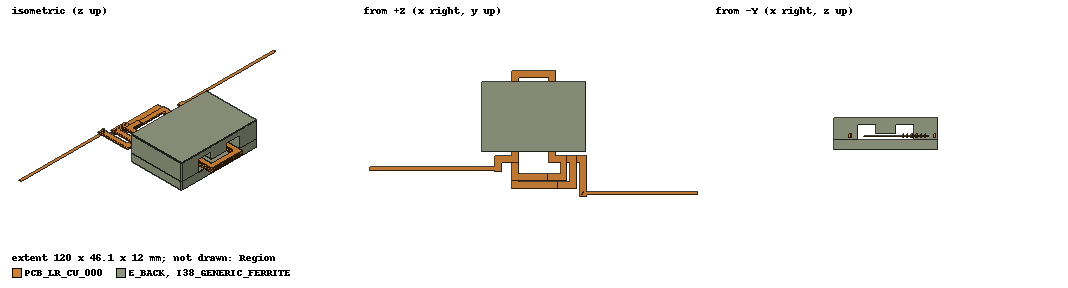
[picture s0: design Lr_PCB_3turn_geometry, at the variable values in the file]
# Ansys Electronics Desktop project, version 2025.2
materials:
  vacuum: permittivity=1
  ferrite: permittivity=12 permeability=1000 conductivity=0.01
  copper: permeability=0.999991 conductivity=58000000

design Lr_PCB_3turn_geometry (Maxwell 3D, Magnetostatic, model units mm)
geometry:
  I38_GENERIC_FERRITE [ferrite] = box(corner=(-19mm, -12.7mm, 0mm), size=(38mm, 25.4mm, 3.75mm))
  E_BACK [ferrite] = box(corner=(-19mm, -12.7mm, 9.4mm), size=(38mm, 25.4mm, 2.6mm))
  E_LEFT = box(corner=(-19mm, -12.7mm, 3.75mm), size=(8.83mm, 25.4mm, 5.65mm))
  E_RIGHT = box(corner=(10.17mm, -12.7mm, 3.75mm), size=(8.83mm, 25.4mm, 5.65mm))
  E_CENTER = box(corner=(-3.82mm, -12.7mm, 6.106mm), size=(7.64mm, 25.4mm, 3.294mm))
  E_BACK.unite(E_LEFT, E_RIGHT, E_CENTER)
  PCB_LR_CU_000 [copper] = box(corner=(-14.25mm, -20.25mm, 5.93mm), size=(2.5mm, 5.9mm, 0.07mm))
  PCB_LR_CU_001 = box(corner=(-14.25mm, -16.85mm, 5.93mm), size=(8.78mm, 2.5mm, 0.07mm))
  PCB_LR_CU_002 = box(corner=(-7.97mm, -16.85mm, 5.93mm), size=(2.5mm, 33.7mm, 0.07mm))
  PCB_LR_CU_003 = box(corner=(-7.97mm, 14.35mm, 5.93mm), size=(15.94mm, 2.5mm, 0.07mm))
  PCB_LR_CU_004 = box(corner=(5.47mm, -16.85mm, 5.93mm), size=(2.5mm, 33.7mm, 0.07mm))
  PCB_LR_CU_005 = box(corner=(5.47mm, -16.85mm, 5.93mm), size=(6.78mm, 2.5mm, 0.07mm))
  PCB_LR_CU_006 = box(corner=(9.75mm, -23.25mm, 5.93mm), size=(2.5mm, 8.9mm, 0.07mm))
  PCB_LR_CU_007 = box(corner=(-14.25mm, -20.25mm, 5.66mm), size=(2.5mm, 5.9mm, 0.07mm))
  PCB_LR_CU_008 = box(corner=(-14.25mm, -16.85mm, 5.66mm), size=(8.78mm, 2.5mm, 0.07mm))
  PCB_LR_CU_009 = box(corner=(-7.97mm, -16.85mm, 5.66mm), size=(2.5mm, 33.7mm, 0.07mm))
  PCB_LR_CU_010 = box(corner=(-7.97mm, 14.35mm, 5.66mm), size=(15.94mm, 2.5mm, 0.07mm))
  PCB_LR_CU_011 = box(corner=(5.47mm, -16.85mm, 5.66mm), size=(2.5mm, 33.7mm, 0.07mm))
  PCB_LR_CU_012 = box(corner=(5.47mm, -16.85mm, 5.66mm), size=(6.78mm, 2.5mm, 0.07mm))
  PCB_LR_CU_013 = box(corner=(9.75mm, -23.25mm, 5.66mm), size=(2.5mm, 8.9mm, 0.07mm))
  PCB_LR_CU_014 = box(corner=(-7.97mm, -23.25mm, 5.35mm), size=(20.22mm, 2.5mm, 0.07mm))
  PCB_LR_CU_015 = box(corner=(-7.97mm, -23.25mm, 5.35mm), size=(2.5mm, 8.9mm, 0.07mm))
  PCB_LR_CU_016 = box(corner=(-7.97mm, -16.85mm, 5.35mm), size=(2.5mm, 33.7mm, 0.07mm))
  PCB_LR_CU_017 = box(corner=(-7.97mm, 14.35mm, 5.35mm), size=(15.94mm, 2.5mm, 0.07mm))
  PCB_LR_CU_018 = box(corner=(5.47mm, -16.85mm, 5.35mm), size=(2.5mm, 33.7mm, 0.07mm))
  PCB_LR_CU_019 = box(corner=(5.47mm, -16.85mm, 5.35mm), size=(10.28mm, 2.5mm, 0.07mm))
  PCB_LR_CU_020 = box(corner=(13.25mm, -26.25mm, 5.35mm), size=(2.5mm, 11.9mm, 0.07mm))
  PCB_LR_CU_021 = box(corner=(-7.97mm, -23.25mm, 5.04mm), size=(20.22mm, 2.5mm, 0.07mm))
  PCB_LR_CU_022 = box(corner=(-7.97mm, -23.25mm, 5.04mm), size=(2.5mm, 8.9mm, 0.07mm))
  PCB_LR_CU_023 = box(corner=(-7.97mm, -16.85mm, 5.04mm), size=(2.5mm, 33.7mm, 0.07mm))
  PCB_LR_CU_024 = box(corner=(-7.97mm, 14.35mm, 5.04mm), size=(15.94mm, 2.5mm, 0.07mm))
  PCB_LR_CU_025 = box(corner=(5.47mm, -16.85mm, 5.04mm), size=(2.5mm, 33.7mm, 0.07mm))
  PCB_LR_CU_026 = box(corner=(5.47mm, -16.85mm, 5.04mm), size=(10.28mm, 2.5mm, 0.07mm))
  PCB_LR_CU_027 = box(corner=(13.25mm, -26.25mm, 5.04mm), size=(2.5mm, 11.9mm, 0.07mm))
  PCB_LR_CU_028 = box(corner=(-7.97mm, -26.25mm, 4.72mm), size=(23.72mm, 2.5mm, 0.07mm))
  PCB_LR_CU_029 = box(corner=(-7.97mm, -26.25mm, 4.72mm), size=(2.5mm, 11.9mm, 0.07mm))
  PCB_LR_CU_030 = box(corner=(-7.97mm, -16.85mm, 4.72mm), size=(2.5mm, 33.7mm, 0.07mm))
  PCB_LR_CU_031 = box(corner=(-7.97mm, 14.35mm, 4.72mm), size=(15.94mm, 2.5mm, 0.07mm))
  PCB_LR_CU_032 = box(corner=(5.47mm, -16.85mm, 4.72mm), size=(2.5mm, 33.7mm, 0.07mm))
  PCB_LR_CU_033 = box(corner=(5.47mm, -16.85mm, 4.72mm), size=(13.78mm, 2.5mm, 0.07mm))
  PCB_LR_CU_034 = box(corner=(16.75mm, -29.25mm, 4.72mm), size=(2.5mm, 14.9mm, 0.07mm))
  PCB_LR_CU_035 = box(corner=(-7.97mm, -26.25mm, 4.4mm), size=(23.72mm, 2.5mm, 0.07mm))
  PCB_LR_CU_036 = box(corner=(-7.97mm, -26.25mm, 4.4mm), size=(2.5mm, 11.9mm, 0.07mm))
  PCB_LR_CU_037 = box(corner=(-7.97mm, -16.85mm, 4.4mm), size=(2.5mm, 33.7mm, 0.07mm))
  PCB_LR_CU_038 = box(corner=(-7.97mm, 14.35mm, 4.4mm), size=(15.94mm, 2.5mm, 0.07mm))
  PCB_LR_CU_039 = box(corner=(5.47mm, -16.85mm, 4.4mm), size=(2.5mm, 33.7mm, 0.07mm))
  PCB_LR_CU_040 = box(corner=(5.47mm, -16.85mm, 4.4mm), size=(13.78mm, 2.5mm, 0.07mm))
  PCB_LR_CU_041 = box(corner=(16.75mm, -29.25mm, 4.4mm), size=(2.5mm, 14.9mm, 0.07mm))
  PCB_LR_CU_042 = box(corner=(5.25mm, -23.25mm, 5.93mm), size=(7mm, 2.5mm, 0.07mm))
  PCB_LR_CU_043 = box(corner=(5.25mm, -23.25mm, 5.66mm), size=(7mm, 2.5mm, 0.07mm))
  PCB_LR_CU_044 = box(corner=(8.75mm, -26.25mm, 5.35mm), size=(7mm, 2.5mm, 0.07mm))
  PCB_LR_CU_045 = box(corner=(8.75mm, -26.25mm, 5.04mm), size=(7mm, 2.5mm, 0.07mm))
  PCB_VIA_BARREL_00 = cylinder(axis=Z, base_centre=(11mm, -22mm, 4.4mm), radius=0.2mm, height=1.6mm)
  PCB_VIA_BORE_00 = cylinder(axis=Z, base_centre=(11mm, -22mm, 4.39mm), radius=0.175mm, height=1.62mm)
  PCB_VIA_BARREL_00.subtract(PCB_VIA_BORE_00)
  PCB_VIA_BARREL_01 = cylinder(axis=Z, base_centre=(14.5mm, -25mm, 4.4mm), radius=0.2mm, height=1.6mm)
  PCB_VIA_BORE_01 = cylinder(axis=Z, base_centre=(14.5mm, -25mm, 4.39mm), radius=0.175mm, height=1.62mm)
  PCB_VIA_BARREL_01.subtract(PCB_VIA_BORE_01)
  PCB_VIA_BARREL_02 = cylinder(axis=Z, base_centre=(9.5mm, -22mm, 4.4mm), radius=0.2mm, height=1.6mm)
  PCB_VIA_BORE_02 = cylinder(axis=Z, base_centre=(9.5mm, -22mm, 4.39mm), radius=0.175mm, height=1.62mm)
  PCB_VIA_BARREL_02.subtract(PCB_VIA_BORE_02)
  PCB_VIA_BARREL_03 = cylinder(axis=Z, base_centre=(8mm, -22mm, 4.4mm), radius=0.2mm, height=1.6mm)
  PCB_VIA_BORE_03 = cylinder(axis=Z, base_centre=(8mm, -22mm, 4.39mm), radius=0.175mm, height=1.62mm)
  PCB_VIA_BARREL_03.subtract(PCB_VIA_BORE_03)
  PCB_VIA_BARREL_04 = cylinder(axis=Z, base_centre=(6.5mm, -22mm, 4.4mm), radius=0.2mm, height=1.6mm)
  PCB_VIA_BORE_04 = cylinder(axis=Z, base_centre=(6.5mm, -22mm, 4.39mm), radius=0.175mm, height=1.62mm)
  PCB_VIA_BARREL_04.subtract(PCB_VIA_BORE_04)
  PCB_VIA_BARREL_05 = cylinder(axis=Z, base_centre=(13mm, -25mm, 4.4mm), radius=0.2mm, height=1.6mm)
  PCB_VIA_BORE_05 = cylinder(axis=Z, base_centre=(13mm, -25mm, 4.39mm), radius=0.175mm, height=1.62mm)
  PCB_VIA_BARREL_05.subtract(PCB_VIA_BORE_05)
  PCB_VIA_BARREL_06 = cylinder(axis=Z, base_centre=(11.5mm, -25mm, 4.4mm), radius=0.2mm, height=1.6mm)
  PCB_VIA_BORE_06 = cylinder(axis=Z, base_centre=(11.5mm, -25mm, 4.39mm), radius=0.175mm, height=1.62mm)
  PCB_VIA_BARREL_06.subtract(PCB_VIA_BORE_06)
  PCB_VIA_BARREL_07 = cylinder(axis=Z, base_centre=(10mm, -25mm, 4.4mm), radius=0.2mm, height=1.6mm)
  PCB_VIA_BORE_07 = cylinder(axis=Z, base_centre=(10mm, -25mm, 4.39mm), radius=0.175mm, height=1.62mm)
  PCB_VIA_BARREL_07.subtract(PCB_VIA_BORE_07)
  PCB_VIA_BARREL_08 = cylinder(axis=Z, base_centre=(-13mm, -19mm, 4.4mm), radius=0.425mm, height=1.6mm)
  PCB_VIA_BORE_08 = cylinder(axis=Z, base_centre=(-13mm, -19mm, 4.39mm), radius=0.4mm, height=1.62mm)
  PCB_VIA_BARREL_08.subtract(PCB_VIA_BORE_08)
  PCB_VIA_BARREL_09 = cylinder(axis=Z, base_centre=(18mm, -28mm, 4.4mm), radius=0.425mm, height=1.6mm)
  PCB_VIA_BORE_09 = cylinder(axis=Z, base_centre=(18mm, -28mm, 4.39mm), radius=0.4mm, height=1.62mm)
  PCB_VIA_BARREL_09.subtract(PCB_VIA_BORE_09)
  LR_TRIAL_LEAD_A = box(corner=(-60mm, -19.6mm, 5.93mm), size=(47mm, 1.2mm, 0.07mm))
  LR_TRIAL_LEAD_B = box(corner=(18mm, -28.6mm, 4.4mm), size=(42mm, 1.2mm, 0.07mm))
  PCB_LR_CU_000.unite(PCB_LR_CU_001, PCB_LR_CU_002, PCB_LR_CU_003, PCB_LR_CU_004, PCB_LR_CU_005, PCB_LR_CU_006, PCB_LR_CU_007, PCB_LR_CU_008, PCB_LR_CU_009, PCB_LR_CU_010, PCB_LR_CU_011, PCB_LR_CU_012, PCB_LR_CU_013, PCB_LR_CU_014, PCB_LR_CU_015, PCB_LR_CU_016, PCB_LR_CU_017, PCB_LR_CU_018, PCB_LR_CU_019, PCB_LR_CU_020, PCB_LR_CU_021, PCB_LR_CU_022, PCB_LR_CU_023, PCB_LR_CU_024, PCB_LR_CU_025, PCB_LR_CU_026, PCB_LR_CU_027, PCB_LR_CU_028, PCB_LR_CU_029, PCB_LR_CU_030, PCB_LR_CU_031, PCB_LR_CU_032, PCB_LR_CU_033, PCB_LR_CU_034, PCB_LR_CU_035, PCB_LR_CU_036, PCB_LR_CU_037, PCB_LR_CU_038, PCB_LR_CU_039, PCB_LR_CU_040, PCB_LR_CU_041, PCB_LR_CU_042, PCB_LR_CU_043, PCB_LR_CU_044, PCB_LR_CU_045, PCB_VIA_BARREL_00, PCB_VIA_BARREL_01, PCB_VIA_BARREL_02, PCB_VIA_BARREL_03, PCB_VIA_BARREL_04, PCB_VIA_BARREL_05, PCB_VIA_BARREL_06, PCB_VIA_BARREL_07, PCB_VIA_BARREL_08, PCB_VIA_BARREL_09, LR_TRIAL_LEAD_A, LR_TRIAL_LEAD_B)
  Region [vacuum] = box(corner=(-60mm, -60mm, -50mm), size=(120mm, 120mm, 100mm))
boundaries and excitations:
  PCB_LR_DC_1A_IN: Current Faces=PCB_LR_CU_000.face(at (-60, -19, 5.965)) Current=1A IsSolid=true Point_out_of_terminal=false
  PCB_LR_DC_1A_OUT: Current Faces=PCB_LR_CU_000.face(at (60, -28, 4.435)) Current=1A IsSolid=true Point_out_of_terminal=true
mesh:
  initial mesh: GlobalCurvilinear{Apply}
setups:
  Setup1: Magnetostatic MaximumPasses=24 MinimumPasses=3 MinimumConvergedPasses=2 PercentRefinement=30 PercentError=0.5 NonLinearResidual=0.001
